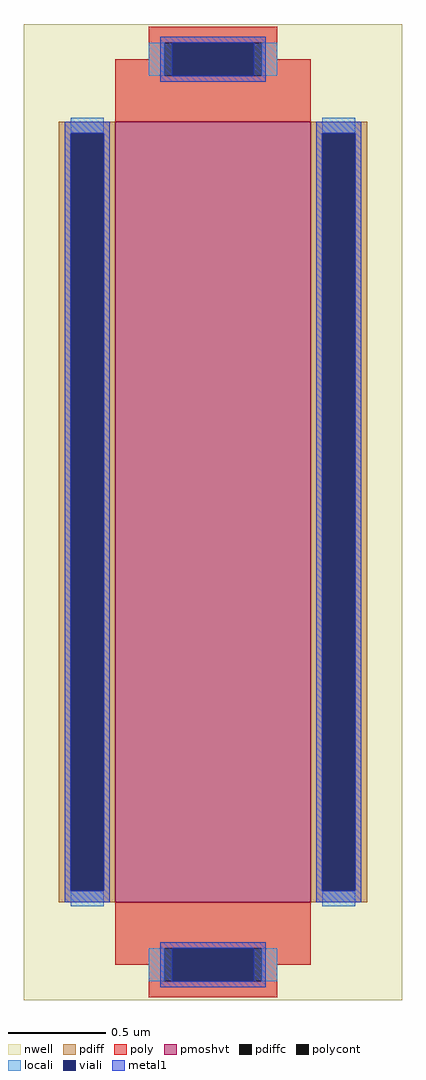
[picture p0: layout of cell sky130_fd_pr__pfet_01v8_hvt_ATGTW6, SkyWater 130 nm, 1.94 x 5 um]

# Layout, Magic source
magic
tech sky130A
magscale 1 2
<< nwell >>
rect -194 -500 194 500
<< pmoshvt >>
rect -100 -400 100 400
<< pdiff >>
rect -158 388 -100 400
rect -158 -388 -146 388
rect -112 -388 -100 388
rect -158 -400 -100 -388
rect 100 388 158 400
rect 100 -388 112 388
rect 146 -388 158 388
rect 100 -400 158 -388
<< pdiffc >>
rect -146 -388 -112 388
rect 112 -388 146 388
<< poly >>
rect -66 481 66 497
rect -66 464 -50 481
rect -100 447 -50 464
rect 50 464 66 481
rect 50 447 100 464
rect -100 400 100 447
rect -100 -447 100 -400
rect -100 -464 -50 -447
rect -66 -481 -50 -464
rect 50 -464 100 -447
rect 50 -481 66 -464
rect -66 -497 66 -481
<< polycont >>
rect -50 447 50 481
rect -50 -481 50 -447
<< locali >>
rect -66 447 -50 481
rect 50 447 66 481
rect -146 388 -112 404
rect -146 -404 -112 -388
rect 112 388 146 404
rect 112 -404 146 -388
rect -66 -481 -50 -447
rect 50 -481 66 -447
<< viali >>
rect -42 447 42 481
rect -146 -388 -112 388
rect 112 -388 146 388
rect -42 -481 42 -447
<< metal1 >>
rect -54 481 54 487
rect -54 447 -42 481
rect 42 447 54 481
rect -54 441 54 447
rect -152 388 -106 400
rect -152 -388 -146 388
rect -112 -388 -106 388
rect -152 -400 -106 -388
rect 106 388 152 400
rect 106 -388 112 388
rect 146 -388 152 388
rect 106 -400 152 -388
rect -54 -447 54 -441
rect -54 -481 -42 -447
rect 42 -481 54 -447
rect -54 -487 54 -481
<< properties >>
string gencell sky130_fd_pr__pfet_01v8_hvt
string parameters w 4 l 1 m 1 nf 1 diffcov 100 polycov 60 guard 0 glc 1 grc 1 gtc 1 gbc 1 tbcov 100 rlcov 100 topc 1 botc 1 poverlap 0 doverlap 1 lmin 0.15 wmin 0.42 compatible {sky130_fd_pr__pfet_01v8  sky130_fd_pr__pfet_01v8_lvt sky130_fd_pr__pfet_01v8_hvt  sky130_fd_pr__pfet_g5v0d10v5} full_metal 1 viasrc 100 viadrn 100 viagate 50 viagb 0 viagr 0 viagl 0 viagt 0
string library sky130
<< end >>
